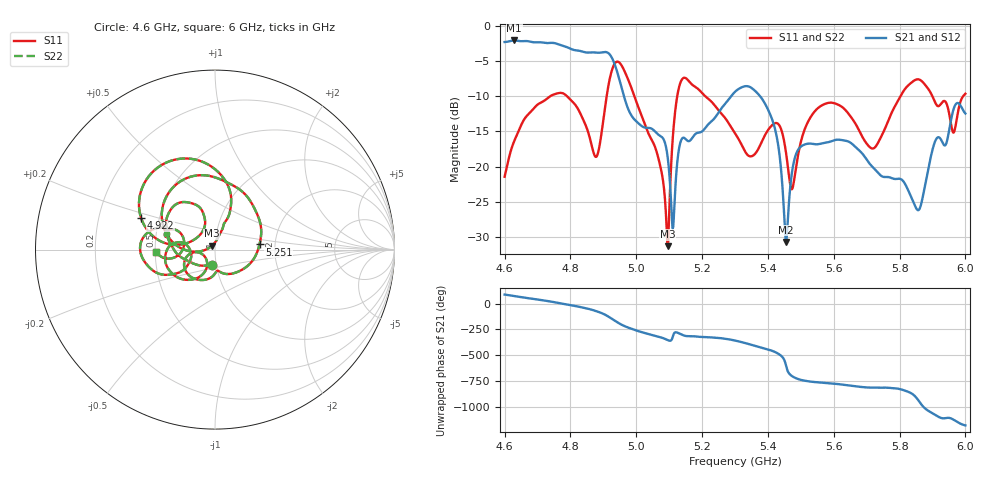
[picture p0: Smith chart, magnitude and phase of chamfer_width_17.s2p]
! TOUCHSTONE file generated by CST MICROWAVE STUDIO
! Date and time: Sat Nov 30 03:28:50 2024
! Project name: test_tuning.cst
! Parameters = {airCoaxOuterDiameter=3; chamferAngle=45; chamferWidth=34; connectorLength=10; drillingHoleDiameter=4.1; feedLength=60; flareDiameter=130; flareLength=70; gratingDistance=0; gratingGap=1.90274; outletLength=30; polarizerLength=134; probe1Diameter=1.3; probe1Distance=14; probe1Length=1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
! Header version: 2024
! Port assignment regex: !\s*Touchstone port\s*([0-9]+)\s*=\s*(CST MWS port|CST DES external port|CST DES block port)\s*(.+)\s* \(\"(.*)\"\)(\s*mode\s*([0-9]+))?.*
! Touchstone port assignment:
! Touchstone port 1 = CST MWS port 1 ("Input1")
! Touchstone port 2 = CST MWS port 2 ("Input2")
# GHz S MA R 50
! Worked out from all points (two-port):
!   1001 points, 4.6 GHz to 6 GHz, reference 50 ohm
!   highest |S21| = -2.06 dB at 4.629 GHz (marker M1); lowest = -30.7 dB at 5.455 GHz (marker M2)
!   |S21| within 3 dB of the highest: start of sweep to 4.931 GHz
!   lowest |S11| = -31.3 dB at 5.096 GHz (marker M3), VSWR 1.06, Z = 48.3 + j2.05 ohm
!   |S11| at or under -10 dB: start of sweep to 4.738 GHz; 4.994 GHz to 5.124 GHz (130.1 MHz wide, 2.57 % of centre); 5.21 GHz to 5.803 GHz (592.8 MHz wide, 10.8 % of centre)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
!   |S22| runs from -31.3 to -5.1 dB; largest |S21 - S12| = 1e-06
!   S11 on the Smith chart (normalised r, x): 4.6 GHz: 0.96, -0.16; 4.922 GHz: 0.40, +0.17; 5.251 GHz: 1.66, +0.10; 6 GHz: 0.50, -0.02
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4.6  0.08468 -100.9  0.7685 87.9  0.7685 87.9  0.08468 -100.9
4.6294  0.1522 -152.1  0.7886 72.9  0.7886 72.9  0.1522 -152.1
4.7484  0.3249 144.5  0.7572 15.0  0.7572 15.0  0.3249 144.5
4.8338  0.2287 108.4  0.66 -36.0  0.66 -36.0  0.2287 108.4
4.88  0.1185 143.1  0.6459 -75.1  0.6459 -75.1  0.1185 143.1
4.922  0.4474 156.9  0.6152 -139.4  0.6152 -139.4  0.4474 156.9
4.9626  0.4867 96.7  0.3163 143.7  0.3163 143.7  0.4867 96.7
5.0676  0.1138 70.6  0.1684 37.8  0.1684 37.8  0.1138 70.6
5.0956  0.02718 128.8  0.1158 4.5  0.1158 4.5  0.02718 128.8
5.111  0.1606 -178.5  0.03617 39.1  0.03617 39.1  0.1606 -178.5
5.1362  0.406 130.4  0.1537 61.1  0.1537 61.1  0.406 130.4
5.251  0.2498 6.7  0.2444 26.5  0.2444 26.5  0.2498 6.7
5.3  0.1725 -48.0  0.3403 1.2  0.3403 1.2  0.1725 -48.0
5.4106  0.1948 -121.4  0.2235 -95.9  0.2235 -95.9  0.1948 -121.4
5.4554  0.1238 -172.5  0.02917 112.0  0.02917 112.0  0.1238 -172.5
5.4834  0.09185 -118.3  0.1187 -2.2  0.1187 -2.2  0.09185 -118.3
5.5338  0.2324 -133.6  0.1453 -39.4  0.1453 -39.4  0.2324 -133.6
5.7172  0.1344 -171.8  0.09994 -96.0  0.09994 -96.0  0.1344 -171.8
5.7676  0.2176 -147.0  0.08415 -98.0  0.08415 -98.0  0.2176 -147.0
5.8586  0.4167 176.2  0.04925 133.6  0.04925 133.6  0.4167 176.2
5.9636  0.1743 171.4  0.2539 -46.7  0.2539 -46.7  0.1743 171.4
6  0.3296 -177.4  0.2384 -103.6  0.2384 -103.6  0.3296 -177.4
